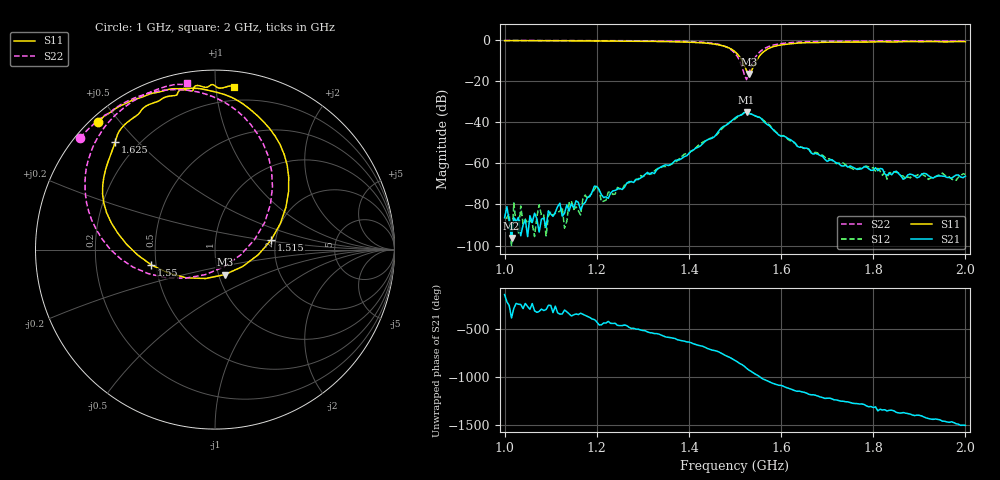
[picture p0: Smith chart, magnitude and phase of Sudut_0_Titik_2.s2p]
# Hz S RI R 50
! CMT, C1220, 16058040, 17.2.0/1
! Date: 14/08/2018 12:44:08
! Data: Format (Calibration Info)
! Freq  S11: Re/Im (F2)  S21: Re/Im (F2)  S12: Re/Im (F2)  S22: Re/Im (F2)
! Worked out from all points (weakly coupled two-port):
!   201 points, 1 GHz to 2 GHz, reference 50 ohm
!   highest |S21| = -35.01 dB at 1.525 GHz (marker M1); lowest = -96.4 dB at 1.015 GHz (marker M2)
!   lowest |S11| = -16.5 dB at 1.53 GHz (marker M3), VSWR 1.35, Z = 53.5 - j15.2 ohm
!   |S11| at or under -10 dB: 1.515 GHz to 1.547 GHz (31.59 MHz wide, 2.06 % of centre)
!   |S22| runs from -19.3 to -0.2 dB; largest |S21 - S12| = 0.00078
!   S11 on the Smith chart (normalised r, x): 1 GHz: 0.02, +0.44; 1.515 GHz: 1.89, +0.23; 1.55 GHz: 0.47, -0.09; 1.625 GHz: 0.12, +0.43; 2 GHz: 0.10, +1.11
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1e9  -0.6504 0.7136  -3.93e-05 -2.65e-05  2.59e-05 1.14e-05  -0.7518 0.6224
1.015e9  -0.6328 0.7271  1.33e-05 -7.32e-06  -9.13e-06 -3.13e-06  -0.7418 0.6335
1.17e9  -0.4789 0.8234  9.83e-05 1.56e-05  0.000143 -4.14e-06  -0.6164 0.7472
1.195e9  -0.4421 0.8389  0.000193 -0.000201  0.000169 -0.00016  -0.5877 0.7601
1.205e9  -0.4318 0.8414  -4.69e-05 -0.000225  -6.48e-06 -0.000227  -0.5808 0.7612
1.21e9  -0.4268 0.8429  -3.38e-05 -0.00017  -1.83e-05 -0.000116  -0.5787 0.7645
1.225e9  -0.4056 0.8501  5.82e-05 -0.000129  7.61e-05 -0.000186  -0.5667 0.7795
1.335e9  -0.2159 0.8963  -0.000732 0.000228  -0.000707 0.000329  -0.4018 0.8617
1.45e9  0.1852 0.7896  0.00407 -0.000219  0.00418 -0.000497  0.021 0.8371
1.5e9  0.4099 0.3224  -0.00422 -0.012  -0.00397 -0.0113  0.3203 0.3495
1.515e9  0.3129 0.0538  -0.0137 -0.00676  -0.0136 -0.00714  0.2203 0.056
1.525e9  0.1545 -0.094  -0.0174 0.00358  -0.0175 0.00343  0.0509 -0.0958
1.53e9  0.0545 -0.1392  -0.014 0.00821  -0.0141 0.00817  -0.0557 -0.1399
1.55e9  -0.3551 -0.0852  -0.000447 0.0133  -0.00102 0.0133  -0.4569 -0.0974
1.58e9  -0.6197 0.2602  0.00682 0.00189  0.00714 0.00167  -0.7039 0.2137
1.625e9  -0.5556 0.6022  0.002 -0.00284  0.00195 -0.00263  -0.6998 0.5186
1.67e9  -0.4422 0.7429  -0.000494 -0.00161  -0.00055 -0.0017  -0.625 0.6687
1.76e9  -0.2636 0.8533  -0.000723 0.000234  -0.000675 0.00016  -0.4836 0.8082
1.81e9  -0.1913 0.8894  5.97e-05 0.000658  -0.000325 0.000679  -0.4127 0.8526
1.83e9  -0.1454 0.8862  4.65e-05 0.000501  -0.000105 0.0004  -0.3854 0.866
1.835e9  -0.1352 0.8844  -1.51e-05 0.000579  6.06e-05 0.000593  -0.379 0.8694
2e9  0.1031 0.9053  0.000198 -0.000447  0.000201 -0.000505  -0.1571 0.9295
